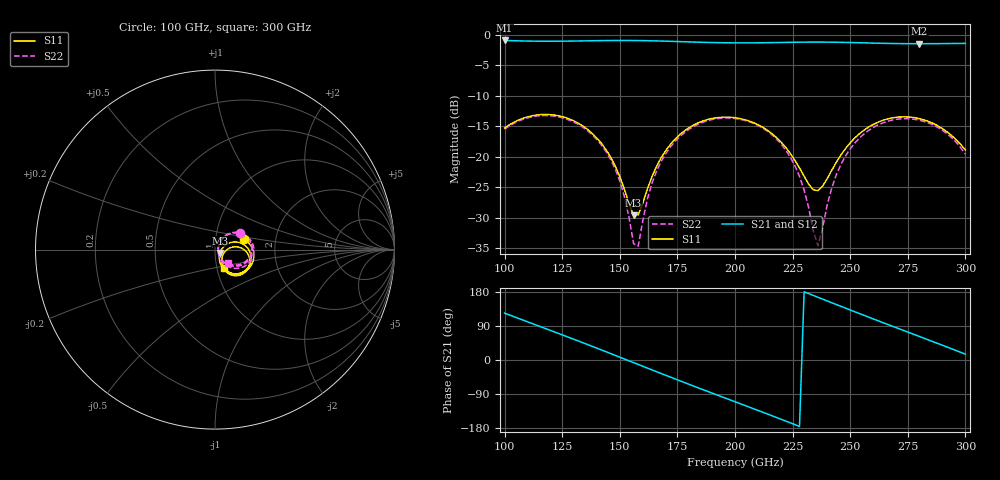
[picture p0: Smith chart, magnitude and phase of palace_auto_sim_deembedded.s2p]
! Created with skrf 1.11.0 (http://scikit-rf.org).
# GHz S DB R 50.0
!freq dBS11 angS11 dBS21 angS21 dBS12 angS12 dBS22 angS22
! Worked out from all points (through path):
!   101 points, 100 GHz to 300 GHz, reference 50 ohm
!   highest |S21| = -0.97 dB at 100 GHz (marker M1); lowest = -1.5 dB at 280 GHz (marker M2)
!   group delay of S21, straight-line fit = 6.52 ps
!   lowest |S11| = -29.6 dB at 156 GHz (marker M3), VSWR 1.07, Z = 52.8 - j1.99 ohm
!   |S11| at or under -10 dB: start of sweep to end of sweep
!   |S22| runs from -34.6 to -13.3 dB; largest |S21 - S12| = 1e-13
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100  -15.30 19.3  -0.97 123.7  -0.97 123.7  -15.48 32.7
116  -13.10 -13.4  -1.09 87.0  -1.09 87.0  -13.27 0.8
134  -14.98 -49.9  -1.04 45.5  -1.04 45.5  -15.18 -35.7
148  -21.51 -69.3  -0.97 12.3  -0.97 12.3  -22.00 -59.7
152  -25.33 -64.4  -0.97 2.7  -0.97 2.7  -26.51 -59.9
156  -29.57 -34.5  -0.98 -7.0  -0.98 -7.0  -34.24 -29.4
158  -29.51 -8.4  -0.98 -11.8  -0.98 -11.8  -34.64 20.5
162  -25.26 20.4  -1.01 -21.4  -1.01 -21.4  -26.90 55.1
168  -20.13 24.0  -1.06 -35.8  -1.06 -35.8  -20.73 53.3
184  -14.46 -0.8  -1.25 -73.4  -1.25 -73.4  -14.68 24.6
200  -13.62 -30.4  -1.36 -110.1  -1.36 -110.1  -13.73 -7.0
212  -15.18 -50.8  -1.34 -137.7  -1.34 -137.7  -15.30 -30.4
222  -18.46 -62.9  -1.28 -161.0  -1.28 -161.0  -18.89 -48.7
228  -21.84 -61.4  -1.25 -175.3  -1.25 -175.3  -23.22 -55.8
234  -25.41 -37.1  -1.23 170.4  -1.23 170.4  -32.17 -35.8
236  -25.55 -22.9  -1.23 165.6  -1.23 165.6  -34.57 4.0
242  -22.22 4.9  -1.25 151.1  -1.25 151.1  -25.10 57.2
250  -17.73 6.4  -1.31 132.0  -1.31 132.0  -18.71 49.6
268  -13.66 -20.8  -1.46 89.9  -1.46 89.9  -14.02 14.5
280  -13.76 -41.6  -1.50 62.2  -1.50 62.2  -14.02 -9.9
292  -15.92 -59.4  -1.47 34.3  -1.47 34.3  -16.22 -33.3
300  -18.89 -64.7  -1.44 15.5  -1.44 15.5  -19.60 -46.4
